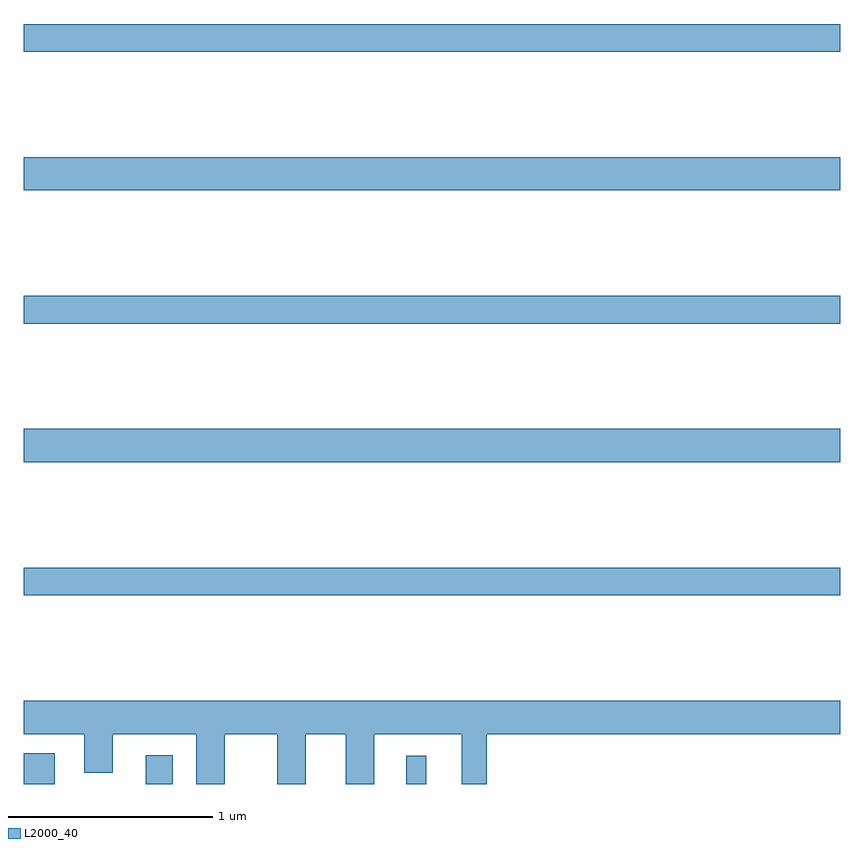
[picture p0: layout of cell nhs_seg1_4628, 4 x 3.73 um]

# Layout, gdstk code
import gdstk
lib = gdstk.Library(unit=1e-6, precision=1e-09)
def R(c, l, rs):  # rectangles x0, y0, x1, y1
    for r in rs: c.add(gdstk.rectangle(r[:2], r[2:], *l))
def A(c, l, x, y, w, h, nx, ny, dx, dy):  # array of equal rectangles
    R(c, l, [(x+i*dx, y+j*dy, x+i*dx+w, y+j*dy+h) for i in range(nx) for j in range(ny)])
def P(c, l, *ps):  # polygons
    for p in ps: c.add(gdstk.Polygon(p, *l))
L2000_40 = (2000, 40)

nhs_seg1_4628 = lib.new_cell('nhs_seg1_4628')
A(nhs_seg1_4628, L2000_40, 363, 507.124, 4, 0.136, 1, 3, 0, 1.332)
R(nhs_seg1_4628, L2000_40, [(363,506.199,363.151,506.35), (363.596,506.199,363.73,506.341), (364.874,506.199,364.972,506.338), (363,507.776,367,507.94), (363,509.108,367,509.272)])
P(nhs_seg1_4628, L2000_40, [(363,506.444),(363.296,506.444),(363.296,506.254),(363.436,506.254),(363.436,506.444),(363.845,506.444),(363.845,506.199),(363.985,506.199),(363.985,506.444),(364.241,506.444),(364.241,506.199),(364.381,506.199),(364.381,506.444),(364.577,506.444),(364.577,506.199),(364.717,506.199),(364.717,506.444),(365.147,506.444),(365.147,506.199),(365.269,506.199),(365.269,506.444),(367,506.444),(367,506.608),(363,506.608)])

lib.write_gds('nhs_seg1_4628.gds')
